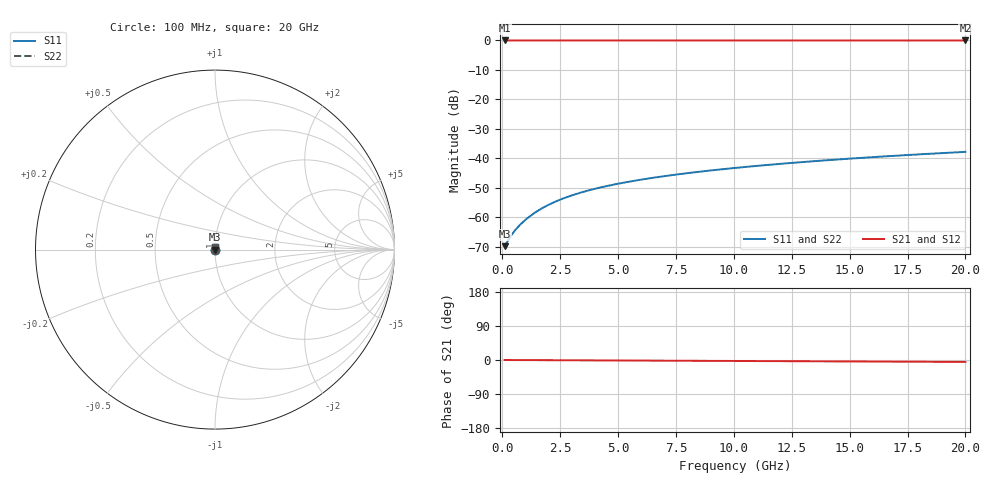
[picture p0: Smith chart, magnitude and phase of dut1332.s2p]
! Touchstone file exported from HFSS 2026.1.0
!  File:  C:/ffzhzh/LocalFiles/Ansys_Project_Files/temp_train_TSV_1332_1783195384_55132.aedt
!  Generated:  04:04:45 AM Jul  5, 2026
!  Design:  TSV
!  Project:  temp_train_TSV_1332_1783195384_55132
! Variables:
!  h_bsmrdl = 2um
!  h_ox = 20um
!  h_rdl = 5um
!  h_sub = 50.86um
!  h_tmrdl = 5um
!  h_tsv = 50.86um
!  h_via = 3um
!  l_bsmrdl = 300um
!  l_sub = 409.26um
!  l_tmrdl = 200um
!  m_sub = 200um
!  pitch = 22.4um
!  r_tsv = 4.63um
!  s_tmrdl = 10um
!  w_bsmrdl = 18um
!  w_sub = 500um
!  w_tmrdl = 12um
!  x_tsv_center1 = 206um
!  x_tsv_center2 = 524um
!  x_tsv_center3 = 736um
!  x_tsv_center4 = 1054um
!  x_tsv_center5 = 1266um
!  x_tsv_center6 = 1584um
# GHz S MA R 50.000000
! Terminal data exported
! Port[1] = TSV1_1_T1
! Port[2] = TSV1_1_T2
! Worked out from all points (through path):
!   200 points, 100 MHz to 20 GHz, reference 50 ohm
!   highest |S21| = 0.00 dB at 100 MHz (marker M1); lowest = 0.0 dB at 20 GHz (marker M2)
!   lowest |S11| = -69.7 dB at 100 MHz (marker M3), VSWR 1.00, Z = 50 + j0.0101 ohm
!   |S11| at or under -10 dB: start of sweep to end of sweep
!   |S22| runs from -69.7 to -37.8 dB; largest |S21 - S12| = 3.2e-15
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0.1  0.000326 18.1  0.9997 -0.0  0.9997 -0.0  0.000326 18.1
! Gamma 0 0 0 0
! Port Impedance 50 0 50 0
0.3  0.0004415 39.4  0.9997 -0.1  0.9997 -0.1  0.0004415 39.4
0.4  0.0005062 45.3  0.9996 -0.1  0.9996 -0.1  0.0005062 45.3
0.6  0.0006371 53.5  0.9996 -0.2  0.9996 -0.2  0.0006371 53.5
0.8  0.0007721 59.2  0.9996 -0.2  0.9996 -0.2  0.0007721 59.2
1  0.0009117 63.2  0.9996 -0.3  0.9996 -0.3  0.0009117 63.2
1.2  0.001055 66.1  0.9996 -0.3  0.9996 -0.3  0.001055 66.1
1.4  0.0012 68.3  0.9996 -0.4  0.9996 -0.4  0.0012 68.3
1.8  0.001493 71.3  0.9995 -0.5  0.9995 -0.5  0.001493 71.3
2.3  0.001859 73.4  0.9995 -0.6  0.9995 -0.6  0.001859 73.4
2.9  0.002292 74.8  0.9994 -0.8  0.9994 -0.8  0.002292 74.8
3.5  0.002715 75.6  0.9994 -0.9  0.9994 -0.9  0.002715 75.6
4.2  0.003195 76.2  0.9993 -1.1  0.9993 -1.1  0.003195 76.2
5  0.003729 76.5  0.9992 -1.3  0.9992 -1.3  0.003729 76.5
5.8  0.00425 76.8  0.9991 -1.5  0.9991 -1.5  0.00425 76.8
6.8  0.004888 77.1  0.999 -1.8  0.999 -1.8  0.004888 77.1
8.3  0.005826 77.5  0.9989 -2.1  0.9989 -2.1  0.005826 77.5
10.1  0.006937 77.8  0.9988 -2.6  0.9988 -2.6  0.006937 77.8
11.7  0.007917 77.9  0.9987 -3.0  0.9987 -3.0  0.007917 77.9
13.4  0.008953 78.0  0.9986 -3.4  0.9986 -3.4  0.008953 78.0
16.7  0.01095 78.0  0.9985 -4.3  0.9985 -4.3  0.01095 78.0
20  0.01293 77.6  0.9983 -5.1  0.9983 -5.1  0.01293 77.6
